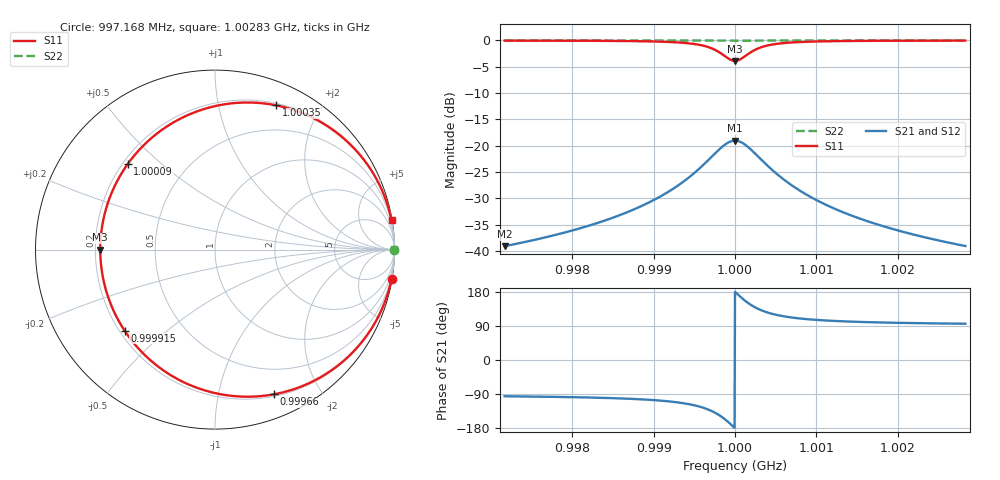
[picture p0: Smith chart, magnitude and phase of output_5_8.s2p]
! File generated for n1 = 5, n2 = 8
! b1 = 4.641589
! b2 = 0.021544
! Q0 = 10000.000000
! f0 = 1000000000.000000
! n = 1001
! rel_span = 10.000000
# Hz S RI R 50
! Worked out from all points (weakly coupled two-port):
!   1001 points, 997.168 MHz to 1.00283 GHz, reference 50 ohm
!   highest |S21| = -19.04 dB at 1 GHz (marker M1); lowest = -39.1 dB at 997.168 MHz (marker M2)
!   lowest |S11| = -3.9 dB at 1 GHz (marker M3), VSWR 4.54, Z = 11 + j0 ohm
!   |S11| at or under -10 dB: nowhere
!   |S22| runs from -0.1 to 0.0 dB; largest |S21 - S12| = 0
!   S11 on the Smith chart (normalised r, x): 997.168 MHz: 0, -12; 999.66 MHz: 0.22, -1.46; 999.915 MHz: 0.22, -0.37; 1.00009 GHz: 0.22, +0.39; 1.00035 GHz: 0.22, +1.49; 1.00283 GHz: 0, +12
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9.971684e8  0.9838 -0.1621  -0.0011 -0.011  -0.0011 -0.011  0.9999 -0.000752
9.981142e8  0.9639 -0.2405  -0.00246 -0.0164  -0.00246 -0.0164  0.9998 -0.00112
9.986522e8  0.9308 -0.3296  -0.00471 -0.0225  -0.00471 -0.0225  0.9997 -0.00153
9.990599e8  0.8638 -0.4525  -0.00928 -0.0308  -0.00928 -0.0308  0.9994 -0.0021
9.994224e8  0.6826 -0.6478  -0.0216 -0.0441  -0.0216 -0.0441  0.9985 -0.00301
9.995526e8  0.5313 -0.7407  -0.0319 -0.0505  -0.0319 -0.0505  0.9978 -0.00344
9.996602e8  0.3283 -0.8062  -0.0458 -0.0549  -0.0458 -0.0549  0.9969 -0.00374
9.998018e8  -0.1001 -0.7701  -0.0749 -0.0525  -0.0749 -0.0525  0.9949 -0.00357
9.998584e8  -0.3113 -0.6557  -0.0893 -0.0447  -0.0893 -0.0447  0.9939 -0.00304
9.999151e8  -0.5039 -0.4512  -0.1025 -0.0307  -0.1025 -0.0307  0.993 -0.00209
1e9  -0.6392 0  -0.1117 0  -0.1117 0  0.9924 0
1.000045e9  -0.5983 0.2557  -0.1089 0.0174  -0.1089 0.0174  0.9926 0.00119
1.000091e9  -0.487 0.4758  -0.1013 0.0324  -0.1013 0.0324  0.9931 0.00221
1.000142e9  -0.3114 0.6557  -0.0893 0.0447  -0.0893 0.0447  0.9939 0.00304
1.000198e9  -0.1002 0.7701  -0.075 0.0525  -0.075 0.0525  0.9949 0.00357
1.000261e9  0.1121 0.8168  -0.0605 0.0556  -0.0605 0.0556  0.9959 0.00379
1.000345e9  0.3411 0.8037  -0.0449 0.0548  -0.0449 0.0548  0.9969 0.00373
1.000453e9  0.5394 0.7368  -0.0314 0.0502  -0.0314 0.0502  0.9979 0.00342
1.000583e9  0.6872 0.6441  -0.0213 0.0439  -0.0213 0.0439  0.9985 0.00299
1.000946e9  0.865 0.4506  -0.0092 0.0307  -0.0092 0.0307  0.9994 0.00209
1.001891e9  0.964 0.2402  -0.00245 0.0164  -0.00245 0.0164  0.9998 0.00112
1.002832e9  0.9837 0.1625  -0.00111 0.0111  -0.00111 0.0111  0.9999 0.000754
